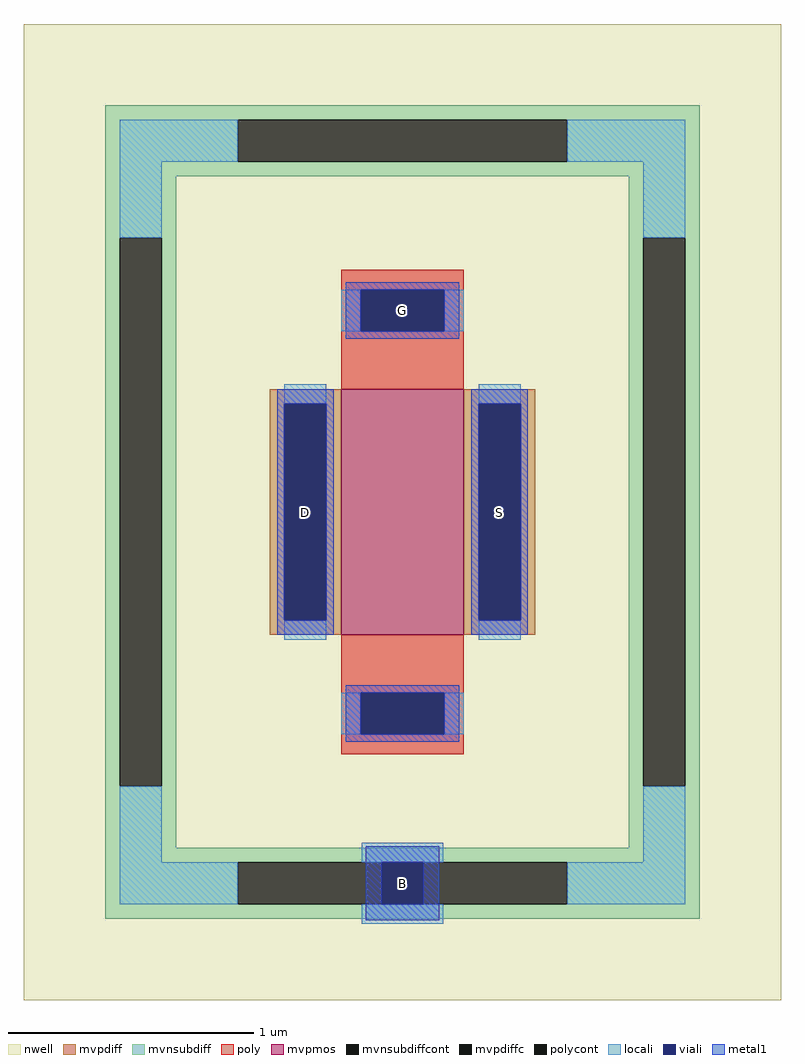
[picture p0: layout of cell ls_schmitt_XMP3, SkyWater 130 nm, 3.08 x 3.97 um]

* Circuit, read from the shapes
.subckt ls_schmitt_XMP3 B D S G
XM1 S G D B sky130_fd_pr__pfet_g5v0d10v5 w=1 l=0.5
.ends

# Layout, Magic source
magic
tech sky130A
magscale 1 2
<< nwell >>
rect -308 -397 308 397
<< mvpmos >>
rect -50 -100 50 100
<< mvpdiff >>
rect -108 88 -50 100
rect -108 -88 -96 88
rect -62 -88 -50 88
rect -108 -100 -50 -88
rect 50 88 108 100
rect 50 -88 62 88
rect 96 -88 108 88
rect 50 -100 108 -88
<< mvpdiffc >>
rect -96 -88 -62 88
rect 62 -88 96 88
<< mvnsubdiff >>
rect -242 319 242 331
rect -242 285 -134 319
rect 134 285 242 319
rect -242 273 242 285
rect -242 223 -184 273
rect -242 -223 -230 223
rect -196 -223 -184 223
rect 184 223 242 273
rect -242 -273 -184 -223
rect 184 -223 196 223
rect 230 -223 242 223
rect 184 -273 242 -223
rect -242 -285 242 -273
rect -242 -319 -134 -285
rect 134 -319 242 -285
rect -242 -331 242 -319
<< mvnsubdiffcont >>
rect -134 285 134 319
rect -230 -223 -196 223
rect 196 -223 230 223
rect -134 -319 134 -285
<< poly >>
rect -50 181 50 197
rect -50 147 -34 181
rect 34 147 50 181
rect -50 100 50 147
rect -50 -147 50 -100
rect -50 -181 -34 -147
rect 34 -181 50 -147
rect -50 -197 50 -181
<< polycont >>
rect -34 147 34 181
rect -34 -181 34 -147
<< locali >>
rect -230 285 -134 319
rect 134 285 230 319
rect -230 223 -196 285
rect 196 223 230 285
rect -50 147 -34 181
rect 34 147 50 181
rect -96 88 -62 104
rect -96 -104 -62 -88
rect 62 88 96 104
rect 62 -104 96 -88
rect -50 -181 -34 -147
rect 34 -181 50 -147
rect -230 -285 -196 -223
rect -33 -285 33 -269
rect 196 -285 230 -223
rect -230 -319 -134 -285
rect 134 -319 230 -285
rect -33 -335 33 -319
<< viali >>
rect -34 147 34 181
rect -96 -88 -62 88
rect 62 -88 96 88
rect -34 -181 34 -147
rect -17 -319 17 -285
<< metal1 >>
rect -46 181 46 187
rect -46 147 -34 181
rect 34 147 46 181
rect -46 141 46 147
rect -102 88 -56 100
rect -102 -88 -96 88
rect -62 -88 -56 88
rect -102 -100 -56 -88
rect 56 88 102 100
rect 56 -88 62 88
rect 96 -88 102 88
rect 56 -100 102 -88
rect -46 -147 46 -141
rect -46 -181 -34 -147
rect 34 -181 46 -147
rect -46 -187 46 -181
rect -30 -285 30 -272
rect -30 -319 -17 -285
rect 17 -319 30 -285
rect -30 -332 30 -319
<< labels >>
rlabel mvnsubdiffcont 0 -302 0 -302 0 B
port 4 nsew
rlabel mvpdiffc -79 0 -79 0 0 D
port 5 nsew
rlabel mvpdiffc 79 0 79 0 0 S
port 6 nsew
rlabel polycont 0 164 0 164 0 G
port 7 nsew
<< properties >>
string FIXED_BBOX -213 -302 213 302
<< end >>
